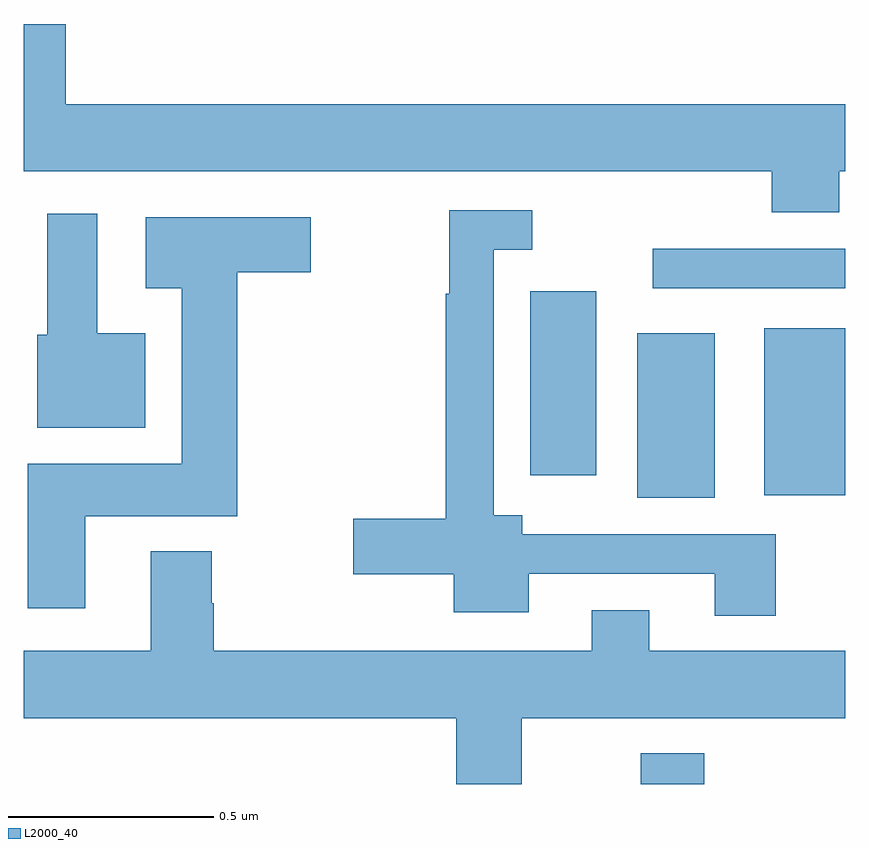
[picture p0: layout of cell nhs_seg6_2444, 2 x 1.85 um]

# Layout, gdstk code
import gdstk
lib = gdstk.Library(unit=1e-6, precision=1e-09)
def R(c, l, rs):  # rectangles x0, y0, x1, y1
    for r in rs: c.add(gdstk.rectangle(r[:2], r[2:], *l))
def P(c, l, *ps):  # polygons
    for p in ps: c.add(gdstk.Polygon(p, *l))
L2000_40 = (2000, 40)

nhs_seg6_2444 = lib.new_cell('nhs_seg6_2444')
R(nhs_seg6_2444, L2000_40, [(144.502,956.5,144.657,956.575), (144.494,957.197,144.682,957.598), (144.803,957.203,145,957.61), (144.233,957.252,144.394,957.7), (144.531,957.708,145,957.804)])
P(nhs_seg6_2444, L2000_40, [(144.986,957.992),(145,957.992),(145,958.156),(143.102,958.156),(143.102,958.351),(143,958.351),(143,957.992),(144.821,957.992),(144.821,957.893),(144.986,957.893)],
  [(144.831,957.108),(144.214,957.108),(144.214,957.154),(144.144,957.154),(144.144,957.801),(144.238,957.801),(144.238,957.897),(144.036,957.897),(144.036,957.694),(144.028,957.694),(144.028,957.146),(143.802,957.146),(143.802,957.011),(144.047,957.011),(144.047,956.918),(144.229,956.918),(144.229,957.012),(144.683,957.012),(144.683,956.91),(144.831,956.91)],
  [(143.296,957.598),(143.179,957.598),(143.179,957.889),(143.057,957.889),(143.057,957.594),(143.033,957.594),(143.033,957.368),(143.296,957.368)],
  [(143.149,957.152),(143.519,957.152),(143.519,957.746),(143.698,957.746),(143.698,957.88),(143.297,957.88),(143.297,957.707),(143.384,957.707),(143.384,957.28),(143.009,957.28),(143.009,956.928),(143.149,956.928)],
  [(144.213,956.66),(145,956.66),(145,956.824),(144.523,956.824),(144.523,956.923),(144.383,956.923),(144.383,956.824),(143.462,956.824),(143.462,956.94),(143.457,956.94),(143.457,957.067),(143.309,957.067),(143.309,956.824),(143,956.824),(143,956.66),(144.053,956.66),(144.053,956.5),(144.213,956.5)])

lib.write_gds('nhs_seg6_2444.gds')
